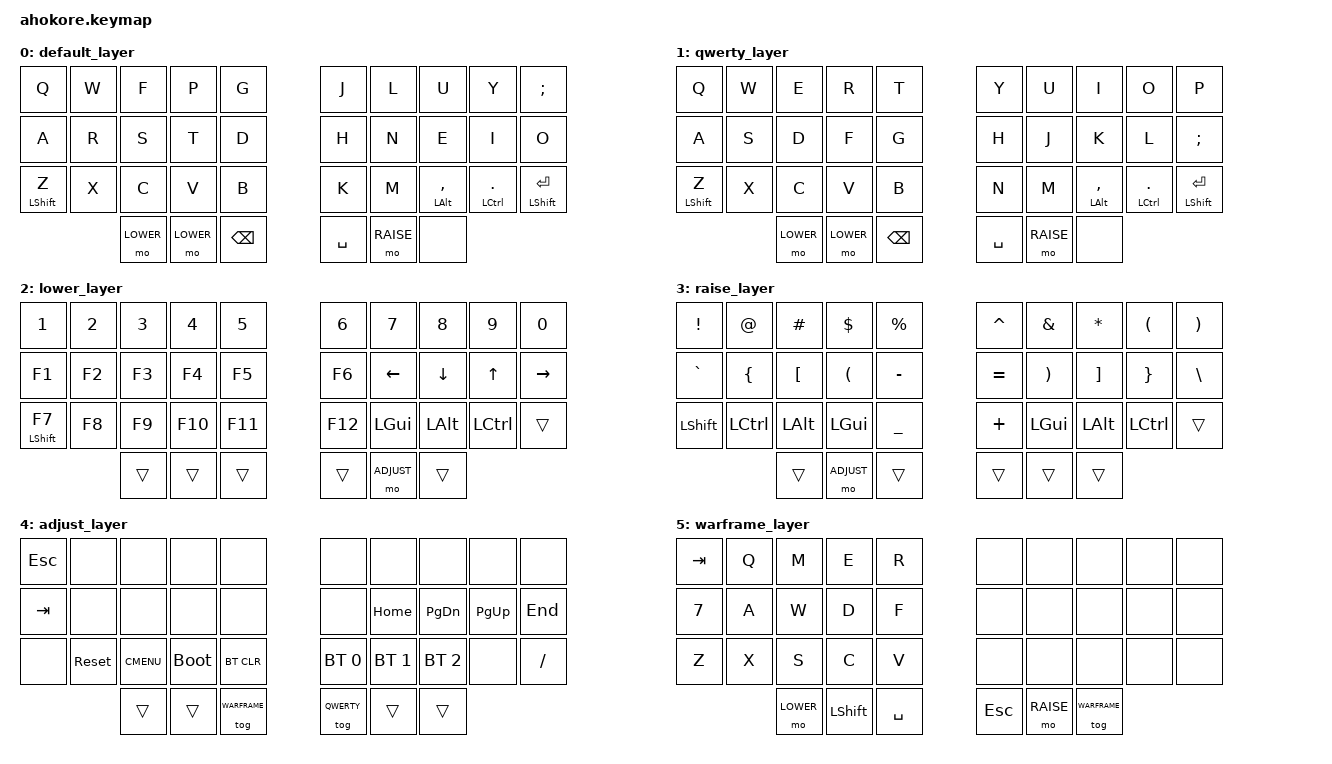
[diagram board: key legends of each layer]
/*
 * Copyright (c) 2020 The ZMK Contributors
 *
 * SPDX-License-Identifier: MIT
 */

#include <behaviors.dtsi>
#include <dt-bindings/zmk/keys.h>
#include <dt-bindings/zmk/bt.h>

#define DEFAULT 0
#define QWERTY  1
#define LOWER   2
#define RAISE   3
#define ADJUST  4
#define WARFRAME 5

/ {

behaviors {
      hm: homerow_mods {
        compatible = "zmk,behavior-hold-tap";
        label = "HOMEROW_MODS";
        #binding-cells = <2>;
        tapping_term_ms = <300>;
        flavor = "tap-preferred";
        bindings = <&kp>, <&kp>;
    };

    combos {
    compatible = "zmk,combos";
    combo_apos {
        timeout-ms = <50>;
        key-positions = <18 19>;
        bindings = <&kp APOS>;
        layers = <0 1>;
    };
    combo_fslh {
        timeout-ms = <50>;
        key-positions = <28 29>;
        bindings = <&kp FSLH>;
        layers = <0 1>;
    };
    combo_del {
        timeout-ms = <50>;
        key-positions = <8 9>;
        bindings = <&kp DEL>;
        layers = <2 3 4>;
    };
    combo_del2 {
        timeout-ms = <50>;
        key-positions = <10 11>;
        bindings = <&kp DEL>;
        layers = <2 3 4>;
    };
    combo_bspc {
        timeout-ms = <50>;
        key-positions = <8 9>;
        bindings = <&kp BKSP>;
        layers = <0 1>;
    };
    combo_bspc2 {
        timeout-ms = <50>;
        key-positions = <10 11>;
        bindings = <&kp BKSP>;
        layers = <0 1>;
    };
    combo_tab {
        timeout-ms = <50>;
        key-positions = <0 1>;
        bindings = <&kp TAB>;
        layers = <0 1>;

    };
    combo_esc {
        timeout-ms = <50>;
        key-positions = <1 2>;
        bindings = <&kp ESC>;
        layers = <0 1>;

    };
    combo_ctrl {
        timeout-ms = <50>;
        key-positions = <20 21>;
        bindings = <&kp LCTRL>;
        layers = <0 1>;

    };
    combo_alt {
        timeout-ms = <50>;
        key-positions = <21 22>;
        bindings = <&kp LALT>;
        layers = <0 1>;

    };
    combo_win {
        timeout-ms = <50>;
        key-positions = <22 23>;
        bindings = <&kp LGUI>;
        layers = <0 1>;

    };
};

};
        keymap {
                compatible = "zmk,keymap";

                default_layer {
// -----------------------------------------------------------------------------------------
// |  Q  |  W  |  F  |  P  |  G   |  J  |  L   |  U  |  Y  |  ;  |
// |  A  |  R  |  S  |  T  |  D   |  H  |  N   |  E  |  I  |  O  |
// |  Z  |  X  |  C  |  V  |  B   |  K  |  M   |  ,  |  .  | S/E |
//             |     | LWR |  BSP | SPC | RSE  |     |
                        bindings = <
   &kp Q 	   &kp W &kp F &kp P &kp G &kp J &kp L &kp U     	  &kp Y		   &kp SEMI
   &kp A 	   &kp R &kp S &kp T &kp D &kp H &kp N &kp E     	  &kp I   	   &kp O
   &mt LSHFT Z &kp X &kp C &kp V &kp B &kp K &kp M &hm LALT COMMA &hm LCTRL DOT &mt LSHFT RET
			   &mo LOWER &mo LOWER &kp BSPC &kp SPACE &mo RAISE &none
                        >;
                };
				
                qwerty_layer {
// -----------------------------------------------------------------------------------------
// |  Q  |  W  |  E  |  R  |  T   |  Y  |  U   |  I  |  O  |  P  |
// |  A  |  S  |  D  |  F  |  G   |  H  |  J   |  K  |  L  |  ;  |
// |  Z  |  X  |  C  |  V  |  B   |  N  |  M   |  ,  |  .  | S/E |
//             |     | LWR |  BSP | SPC | RSE  |     |
                        bindings = <
   &kp Q 		&kp W &kp E &kp R &kp T &kp Y &kp U &kp I     	   &kp O  		&kp P
   &kp A 		&kp S &kp D &kp F &kp G &kp H &kp J &kp K		   &kp L         &kp SEMI
   &mt LSHFT Z  &kp X &kp C &kp V &kp B &kp N &kp M &hm LALT COMMA &hm LCTRL DOT &mt LSHFT RET
			   &mo LOWER &mo LOWER &kp BSPC &kp SPACE &mo RAISE &none
                        >;
                };

                lower_layer {
// -----------------------------------------------------------------------------------------
// |  1  |  2  |  3  |  4  |  5  |  6  |  7  |  8  |  9  |  0  |
// |  F1 |  F2 |  F3 |  F4 |  F5 |  F6 |  LA |  DA |  UA |  RA |
// |  F7 |  F8 |  F9 | F10 | F11 | F12 |     |     |     | S/E |
//             |     | LWR | BSP | SPC | RSE |     |
                        bindings = <
   &kp N1 		&kp N2 &kp N3 &kp N4  &kp N5  &kp N6  &kp N7   &kp N8   &kp N9    &kp N0
   &kp F1 		&kp F2 &kp F3 &kp F4  &kp F5  &kp F6  &kp LEFT &kp DOWN &kp UP    &kp RIGHT
   &mt LSHFT F7 &kp F8 &kp F9 &kp F10 &kp F11 &kp F12 &kp LGUI &kp LALT &kp LCTRL &trans
				 &trans  &trans  &trans  &trans  &mo ADJUST &trans
                        >;
                };

                raise_layer {
// -----------------------------------------------------------------------------------------
// |  !  |  @  |  #  |  $  |  %  |  ^  |  &  |  *  |  (  |  )  |
// |  `  |  {  |  [  |  (  |  -  |  =  |  )  |  ]  |  }  |  \  |
// |     |     |     |     |  _  |  +  |     |     |     | S/E |
//             |     | LWR | BSP | SPC | RSE |     |
                        bindings = <
   &kp EXCL  &kp AT    &kp POUND &kp DLLR &kp PRCNT &kp CARET &kp AMPS &kp STAR &kp LPAR  &kp RPAR
   &kp GRAVE &kp LBRC  &kp LBKT  &kp LPAR &kp MINUS &kp EQUAL &kp RPAR &kp RBKT &kp RBRC  &kp BSLH
   &kp LSHFT &kp LCTRL &kp LALT  &kp LGUI &kp UNDER &kp PLUS  &kp LGUI  &kp LALT &kp LCTRL &trans
				 &trans &mo ADJUST &trans &trans  &trans  &trans
                        >;
                };
				
                adjust_layer {
// -----------------------------------------------------------------------------------------
// | ESC |     |     |     |     |     |     |     |     |     |
// | TAB |     |     |     |     |     |  HO |  PD |  PU |  EN |
// |     | RST |CMENU| BOOT|BTCLR| BT0 | BT1 |     |     |  /  |
//             |     | LWR | BSP | SPC | RSE |     |
                        bindings = <
   &kp ESC &none  &none       &none       &none      &none        &none        &none     &none     &none 
   &kp TAB &none  &none       &none       &none      &none        &kp HOME     &kp PG_DN &kp PG_UP &kp END 
   &none   &sys_reset &kp K_CMENU &bootloader &bt BT_CLR &bt BT_SEL 0 &bt BT_SEL 1 &bt BT_SEL 2     &none     &kp FSLH
				 &trans &trans &tog WARFRAME &tog QWERTY  &trans  &trans
                        >;
                };
		
		warframe_layer {

                        bindings = <
   &kp TAB 		&kp Q &kp M &kp E &kp R &none &none &none     	   &none  		&none
   &kp N7 		&kp A &kp W &kp D &kp F &none &none &none		  &none         &none
   &kp Z  &kp X &kp S &kp C &kp V &none &none &none &none &none
			   &mo LOWER &kp LSHFT  &kp SPACE &kp ESC &mo RAISE &tog WARFRAME  
                        >;
                };

        };
};
